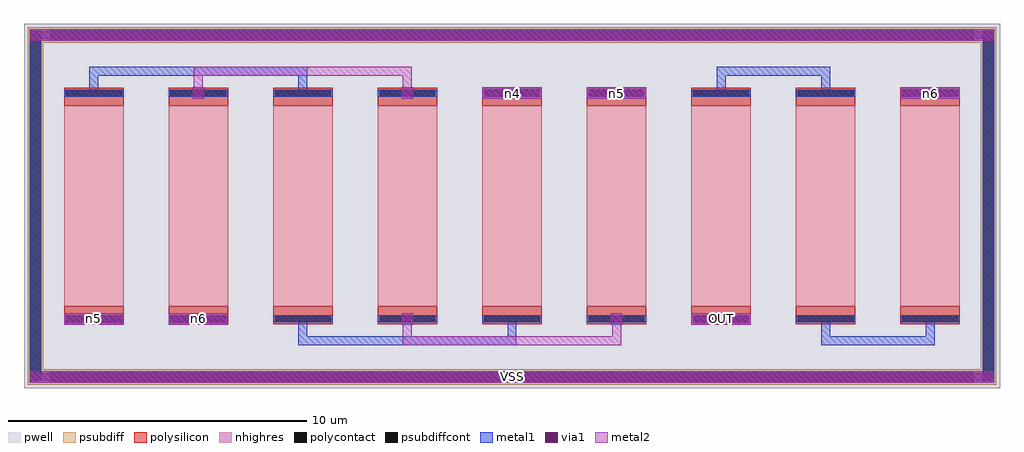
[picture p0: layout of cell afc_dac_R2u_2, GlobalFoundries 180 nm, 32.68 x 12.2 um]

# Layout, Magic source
magic
tech gf180mcuD
magscale 1 10
<< pwell >>
rect -468 -464 6068 1976
<< psubdiff >>
rect -444 -440 6044 -336
rect -444 1848 6044 1952
rect -444 -336 -340 1848
rect 5940 -336 6044 1848
<< polysilicon >>
rect -200 1426 200 1548
rect -200 -36 200 86
rect 1200 1426 1600 1548
rect 1200 -36 1600 86
rect 2600 1426 3000 1548
rect 2600 -36 3000 86
rect 500 1426 900 1548
rect 500 -36 900 86
rect 1900 1426 2300 1548
rect 1900 -36 2300 86
rect 3300 1426 3700 1548
rect 3300 -36 3700 86
rect 4000 1426 4400 1548
rect 4000 -36 4400 86
rect 4700 1426 5100 1548
rect 4700 -36 5100 86
rect 5400 1426 5800 1548
rect 5400 -36 5800 86
<< nhighres >>
rect -200 86 200 1426
rect 1200 86 1600 1426
rect 2600 86 3000 1426
rect 500 86 900 1426
rect 1900 86 2300 1426
rect 3300 86 3700 1426
rect 4000 86 4400 1426
rect 4700 86 5100 1426
rect 5400 86 5800 1426
<< psubdiffcont >>
rect -431 -416 -353 1928
rect 5953 -416 6031 1928
rect -293 1861 5893 1939
rect -293 -427 5893 -349
<< polycontact >>
rect -187 1489 187 1535
rect -187 -23 187 23
rect 1213 1489 1587 1535
rect 1213 -23 1587 23
rect 2613 1489 2987 1535
rect 2613 -23 2987 23
rect 513 1489 887 1535
rect 513 -23 887 23
rect 1913 1489 2287 1535
rect 1913 -23 2287 23
rect 3313 1489 3687 1535
rect 3313 -23 3687 23
rect 4013 1489 4387 1535
rect 4013 -23 4387 23
rect 4713 1489 5087 1535
rect 4713 -23 5087 23
rect 5413 1489 5787 1535
rect 5413 -23 5787 23
<< metal1 >>
rect -198 1489 198 1535
rect -198 -23 198 23
rect 1202 1489 1598 1535
rect 1202 -23 1598 23
rect 2602 1489 2998 1535
rect 2602 -23 2998 23
rect 502 1489 898 1535
rect 502 -23 898 23
rect 1902 1489 2298 1535
rect 1902 -23 2298 23
rect 3302 1489 3698 1535
rect 3302 -23 3698 23
rect 4002 1489 4398 1535
rect 4002 -23 4398 23
rect 4702 1489 5098 1535
rect 4702 -23 5098 23
rect 5402 1489 5798 1535
rect 5402 -23 5798 23
rect -198 -38 198 38
rect -30 1489 30 1688
rect 1370 1489 1430 1688
rect -30 1628 1430 1688
rect 1370 -176 1430 23
rect 2770 -176 2830 23
rect 1370 -176 2830 -116
rect 2602 1474 2998 1550
rect 502 -38 898 38
rect 662 1474 738 1550
rect 2062 1474 2138 1550
rect 2062 -38 2138 38
rect 3462 -38 3538 38
rect 3302 1474 3698 1550
rect 4002 -38 4398 38
rect 4170 1489 4230 1688
rect 4870 1489 4930 1688
rect 4170 1628 4930 1688
rect 4870 -176 4930 23
rect 5570 -176 5630 23
rect 4870 -176 5630 -116
rect 5402 1474 5798 1550
rect -431 -427 6031 -349
rect -431 1861 6031 1939
rect -431 -427 -353 1939
rect 5953 -427 6031 1939
rect -431 -427 6031 -349
rect -431 1861 6031 1939
<< metal2 >>
rect -198 -38 198 38
rect 2602 1474 2998 1550
rect 502 -38 898 38
rect 662 1474 738 1550
rect 670 1512 730 1688
rect 2062 1474 2138 1550
rect 2070 1512 2130 1688
rect 670 1628 2130 1688
rect 2062 -38 2138 38
rect 2070 -176 2130 0
rect 3462 -38 3538 38
rect 3470 -176 3530 0
rect 2070 -176 3530 -116
rect 3302 1474 3698 1550
rect 4002 -38 4398 38
rect 5402 1474 5798 1550
rect -431 -427 6031 -349
rect -431 1861 6031 1939
<< via1 >>
rect -186 -26 186 26
rect 2614 1486 2986 1538
rect 514 -26 886 26
rect 674 1486 726 1538
rect 2074 1486 2126 1538
rect 2074 -26 2126 26
rect 3474 -26 3526 26
rect 3314 1486 3686 1538
rect 4014 -26 4386 26
rect 5414 1486 5786 1538
rect -419 -415 6019 -361
rect -419 1873 6019 1927
<< labels >>
flabel metal2 s -198 -38 198 38 0 FreeSans 80 0 0 0 n5
port 1 nsew signal bidirectional
flabel metal2 s 2602 1474 2998 1550 0 FreeSans 80 0 0 0 n4
port 2 nsew signal bidirectional
flabel metal2 s 502 -38 898 38 0 FreeSans 80 0 0 0 n6
port 3 nsew signal bidirectional
flabel metal2 s 3302 1474 3698 1550 0 FreeSans 80 0 0 0 n5
port 1 nsew signal bidirectional
flabel metal2 s 4002 -38 4398 38 0 FreeSans 80 0 0 0 OUT
port 4 nsew signal bidirectional
flabel metal2 s 5402 1474 5798 1550 0 FreeSans 80 0 0 0 n6
port 3 nsew signal bidirectional
flabel metal2 s -431 -427 6031 -349 0 FreeSans 80 0 0 0 VSS
port 5 nsew signal bidirectional
<< end >>
